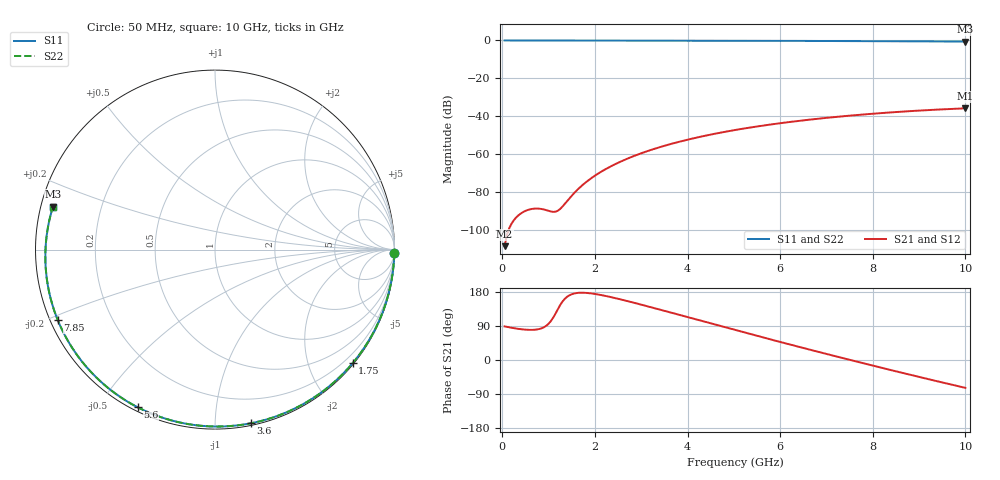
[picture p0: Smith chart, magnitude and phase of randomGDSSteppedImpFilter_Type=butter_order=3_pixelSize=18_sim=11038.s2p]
! freq	dB(S11)	phase(S11)	dB(S12)	phase(S12)
!  dB(S21)	phase(S21)	dB(S22)	phase(S22)
!S-par simulation data
#  GHz  S  DB  R 50
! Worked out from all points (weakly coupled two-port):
!   200 points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, 50 MHz to 10 GHz, reference 50 ohm
!   highest |S21| = -35.77 dB at 10 GHz (marker M1); lowest = -108.4 dB at 50 MHz (marker M2)
!   lowest |S11| = -0.6 dB at 10 GHz (marker M3), VSWR 29.27, Z = 1.74 + j6.53 ohm
!   |S11| at or under -10 dB: nowhere
!   |S22| runs from -0.6 to 0.0 dB; largest |S21 - S12| = 0
!   S11 on the Smith chart (normalised r, x): 50 MHz: open; 1.75 GHz: 0.03, -2.78; 3.6 GHz: 0.02, -1.23; 5.6 GHz: 0.02, -0.62; 7.85 GHz: 0.02, -0.21; 10 GHz: 0.03, +0.13
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0.05  -0.00 -1.1  -108.40 88.7  -108.40 88.7  -0.00 -1.1
0.45  -0.02 -10.3  -90.42 80.7  -90.42 80.7  -0.02 -10.3
0.8  -0.02 -18.3  -88.64 81.8  -88.64 81.8  -0.02 -18.3
1.55  -0.04 -35.1  -80.44 175.4  -80.44 175.4  -0.04 -35.1
1.6  -0.05 -36.2  -79.19 176.6  -79.19 176.6  -0.05 -36.2
1.75  -0.05 -39.5  -75.82 177.5  -75.82 177.5  -0.05 -39.5
2.05  -0.06 -46.1  -70.45 173.3  -70.45 173.3  -0.06 -46.1
2.25  -0.06 -50.4  -67.56 168.5  -67.56 168.5  -0.06 -50.4
2.45  -0.07 -54.6  -65.04 163.0  -65.04 163.0  -0.07 -54.6
2.9  -0.08 -64.1  -60.35 149.3  -60.35 149.3  -0.08 -64.1
3.4  -0.10 -74.3  -56.23 133.1  -56.23 133.1  -0.10 -74.3
3.6  -0.10 -78.3  -54.82 126.5  -54.82 126.5  -0.10 -78.3
4.3  -0.13 -92.0  -50.62 103.2  -50.62 103.2  -0.13 -92.0
5.05  -0.16 -106.1  -47.09 78.4  -47.09 78.4  -0.16 -106.1
5.6  -0.19 -116.1  -44.96 60.5  -44.96 60.5  -0.19 -116.1
6.15  -0.22 -126.0  -43.14 42.8  -43.14 42.8  -0.22 -126.0
6.7  -0.26 -135.7  -41.56 25.4  -41.56 25.4  -0.26 -135.7
7.3  -0.31 -146.2  -40.07 6.7  -40.07 6.7  -0.31 -146.2
7.85  -0.35 -155.8  -38.90 -10.2  -38.90 -10.2  -0.35 -155.8
8.35  -0.40 -164.6  -37.98 -25.3  -37.98 -25.3  -0.40 -164.6
9.2  -0.50 -179.9  -36.68 -50.5  -36.68 -50.5  -0.50 -179.9
10  -0.59 165.1  -35.77 -73.5  -35.77 -73.5  -0.59 165.1
